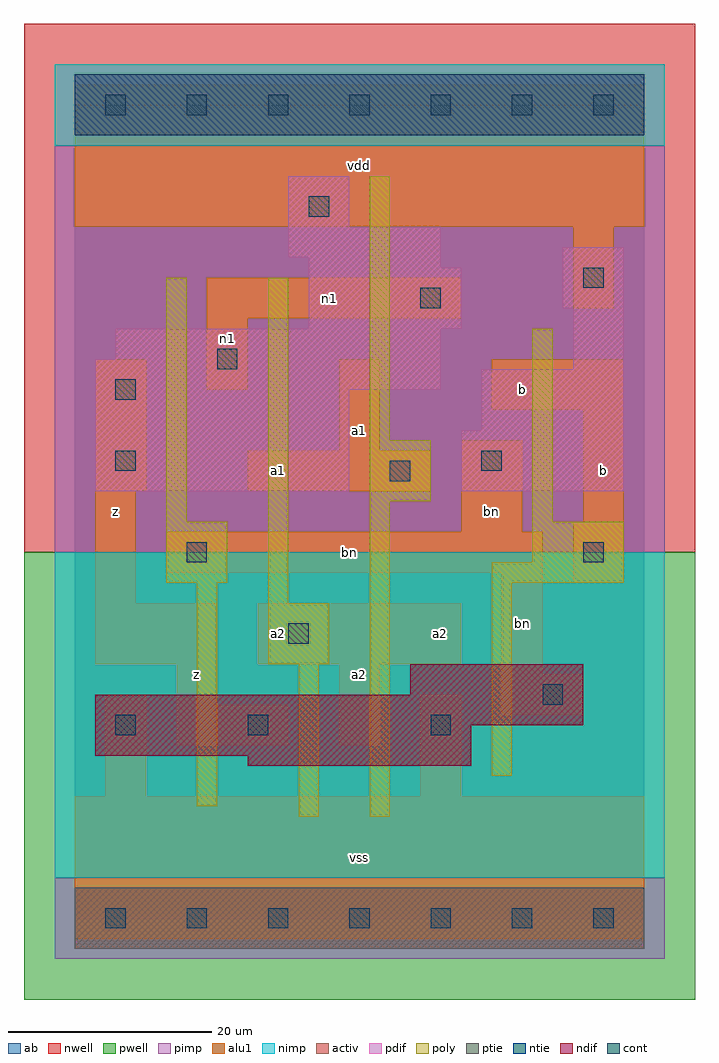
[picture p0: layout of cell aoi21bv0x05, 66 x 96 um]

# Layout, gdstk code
import gdstk
lib = gdstk.Library(unit=1e-6, precision=1e-09)
def R(c, l, rs):  # rectangles x0, y0, x1, y1
    for r in rs: c.add(gdstk.rectangle(r[:2], r[2:], *l))
def A(c, l, x, y, w, h, nx, ny, dx, dy):  # array of equal rectangles
    R(c, l, [(x+i*dx, y+j*dy, x+i*dx+w, y+j*dy+h) for i in range(nx) for j in range(ny)])
ndif = (3, 0)
pdif = (4, 0)
ntie = (5, 0)
ptie = (6, 0)
cont = (25, 0)
pwell = (41, 0)
nwell = (42, 0)
activ = (43, 0)
pimp = (44, 0)
nimp = (45, 0)
poly = (46, 0)
alu1 = (49, 0)
ab = (63, 0)

aoi21bv0x05 = lib.new_cell('aoi21bv0x05')
R(aoi21bv0x05, ndif, [(17,15,39,16), (2,16,39,19), (2,19,50,22), (33,22,50,25)])
R(aoi21bv0x05, pdif, [(2,42,27,52), (38,42,54,48), (40,48,54,54), (2,52,36,55), (49,54,54,60), (4,55,36,58), (23,58,38,64), (48,60,54,66), (23,64,36,65), (21,65,36,68), (21,68,27,73)])
R(aoi21bv0x05, ntie, [(0,77,56,83)])
R(aoi21bv0x05, ptie, [(0,-3,56,3)])
A(aoi21bv0x05, cont, 3, -1, 2, 2, 7, 2, 8, 80)
R(aoi21bv0x05, cont, [(4,18,6,20), (17,18,19,20), (35,18,37,20), (46,21,48,23), (21,27,23,29), (11,35,13,37), (50,35,52,37), (31,43,33,45), (4,44,6,46), (40,44,42,46), (4,51,6,53), (14,54,16,56), (34,60,36,62), (50,62,52,64), (23,69,25,71)])
R(aoi21bv0x05, pwell, [(-5,-8,61,36)])
R(aoi21bv0x05, nwell, [(-5,36,61,88)])
R(aoi21bv0x05, activ, [(0,-3,56,3), (17,15,39,16), (2,16,39,19), (2,19,50,22), (33,22,50,25), (2,42,27,52), (38,42,54,48), (40,48,54,54), (2,52,36,55), (49,54,54,60), (4,55,36,58), (23,58,38,64), (48,60,54,66), (23,64,36,65), (21,65,36,68), (21,68,27,73), (0,77,56,83)])
R(aoi21bv0x05, pimp, [(-2,-4,58,4), (-2,36,58,76)])
R(aoi21bv0x05, nimp, [(-2,4,58,36), (-2,76,58,84)])
R(aoi21bv0x05, poly, [(22,10,24,25), (29,10,31,41), (12,11,14,33), (41,14,43,33), (19,25,25,31), (19,31,21,63), (9,33,15,39), (41,33,54,35), (45,35,54,39), (9,39,11,63), (45,39,47,58), (29,41,35,47), (29,47,31,73)])
R(aoi21bv0x05, alu1, [(0,-2,56,12), (3,12,7,22), (34,12,38,22), (10,17,21,21), (26,17,30,25), (42,20,50,24), (10,21,14,25), (42,24,46,34), (2,25,14,31), (18,25,38,31), (2,31,6,42), (49,33,54,39), (9,34,46,38), (38,38,44,47), (50,39,54,50), (2,42,7,55), (17,42,35,46), (26,46,30,55), (41,50,54,55), (13,52,17,59), (13,59,38,63), (49,60,53,68), (0,68,56,82)])
R(aoi21bv0x05, ab, [(0,0,56,80)])
aoi21bv0x05.add(gdstk.Label('n1', (15,57), layer=49, texttype=0))
aoi21bv0x05.add(gdstk.Label('n1', (25,61), layer=49, texttype=0))
aoi21bv0x05.add(gdstk.Label('bn', (44,29), layer=49, texttype=0))
aoi21bv0x05.add(gdstk.Label('bn', (27,36), layer=49, texttype=0))
aoi21bv0x05.add(gdstk.Label('bn', (41,40), layer=49, texttype=0))
aoi21bv0x05.add(gdstk.Label('z', (4,40), layer=49, texttype=0))
aoi21bv0x05.add(gdstk.Label('z', (12,24), layer=49, texttype=0))
aoi21bv0x05.add(gdstk.Label('a2', (20,28), layer=49, texttype=0))
aoi21bv0x05.add(gdstk.Label('a1', (20,44), layer=49, texttype=0))
aoi21bv0x05.add(gdstk.Label('vss', (28,6), layer=49, texttype=0))
aoi21bv0x05.add(gdstk.Label('a2', (28,24), layer=49, texttype=0))
aoi21bv0x05.add(gdstk.Label('a2', (36,28), layer=49, texttype=0))
aoi21bv0x05.add(gdstk.Label('a1', (28,48), layer=49, texttype=0))
aoi21bv0x05.add(gdstk.Label('vdd', (28,74), layer=49, texttype=0))
aoi21bv0x05.add(gdstk.Label('b', (52,44), layer=49, texttype=0))
aoi21bv0x05.add(gdstk.Label('b', (44,52), layer=49, texttype=0))

lib.write_gds('aoi21bv0x05.gds')
